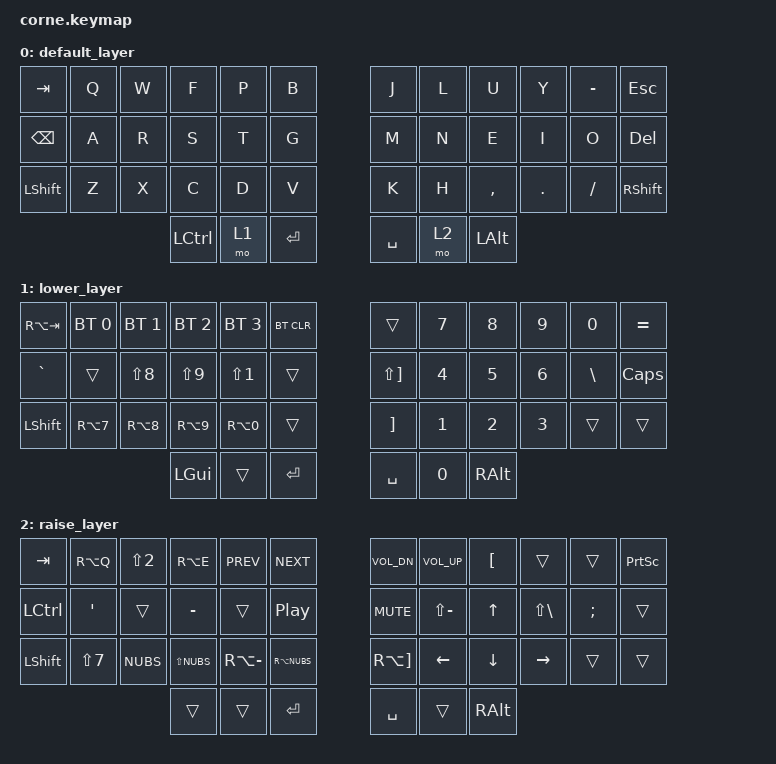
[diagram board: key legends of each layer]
/*
 * Copyright (c) 2020 The ZMK Contributors
 *
 * SPDX-License-Identifier: MIT
 */

#include <behaviors.dtsi>
#include <dt-bindings/zmk/keys.h>
#include <dt-bindings/zmk/bt.h>

/ {
        keymap {
                compatible = "zmk,keymap";

                default_layer {
// -----------------------------------------------------------------------------------------
// |  TAB |  Q  |  W  |  F  |  P  |  B  |   |  J  |  L   |  U  |  Z  |  ß  | ESC  |
// | BKSP |  A  |  R  |  S  |  T  |  G  |   |  M  |  N   |  E  |  I  |  O  | DEL  |
// | SHFT |  Y  |  X  |  C  |  D  |  V  |   |  K  |  H   |  ,  |  .  |  -  | SHFT |
//                    | CTRL| LWR | ENT |   | SPC | RSE  | ALT |
                        bindings = <
   &kp TAB   &kp Q &kp W &kp F &kp P &kp B   &kp J &kp L  &kp U     &kp Y   &kp MINUS &kp ESC
   &kp BSPC  &kp A &kp R &kp S &kp T &kp G   &kp M &kp N  &kp E     &kp I   &kp O     &kp DEL
   &kp LSHFT &kp Z &kp X &kp C &kp D &kp V   &kp K &kp H  &kp COMMA &kp DOT &kp FSLH  &kp RSHFT
                  &kp LCTRL &mo 1 &kp RET     &kp SPACE &mo 2 &kp LALT
                        >;
                };
                lower_layer {
// -----------------------------------------------------------------------------------------
// |RA(TAB)| BT1 | BT2 | BT3 | BT4 | BTCLR |   |     |  7  |  8  |  9  |  0  |  ´` |
// |  ^°   |     |  (  |  )  |  !  |       |   |  *  |  4  |  5  |  6  |  #' | CAPS|
// | SHFT  |  {  |  [  |  ]  |  }  |       |   |  +  |  1  |  2  |  3  |     |     |
//                     | GUI |     | ENT   |   | SPC |  0  | ALT |
                        bindings = <
   &kp RA(TAB) &bt BT_SEL 0 &bt BT_SEL 1 &bt BT_SEL 2 &bt BT_SEL 3 &bt BT_CLR     &trans        &kp N7   &kp N8   &kp N9  &kp N0    &kp EQUAL
   &kp GRAVE   &trans       &kp LS(N8)   &kp LS(N9)   &kp LS(N1)   &trans         &kp LS(RBKT)  &kp N4   &kp N5   &kp N6  &kp BSLH  &kp CAPS
   &kp LSHFT   &kp RA(N7)   &kp RA(N8)   &kp RA(N9)   &kp RA(N0)   &trans         &kp RBKT      &kp N1   &kp N2   &kp N3  &trans    &trans
                          	          &kp LGUI      &trans       &kp RET     &kp SPACE   &kp N0   &kp RALT
                        >;
                };

                raise_layer {
// -----------------------------------------------------------------------------------------
// |  TAB |  @  |  "  |  €  | PRV | NXT |   |  V- |  V+ |  Ü  |     |     | PRINT|
// | CTRL |  Ä  |     |  ß  |     | PLAY|   | MUTE|  ?  |  UP |  '  |  Ö  |      |
// | SHFT |  /  |  <  |  >  |  \  | "|" |   |  ~  | LFT | DWN | RGT |     |      |
//                    |     |     | ENT |   | SPC |     | ALT |
                        bindings = <
   &kp  TAB  &kp RA(Q)  &kp LS(N2) &kp RA(E)    &kp C_PREV    &kp C_NEXT      &kp C_VOL_DN &kp C_VOL_UP  &kp LBKT &trans       &trans   &kp PSCRN
   &kp LCTRL &kp SQT    &trans     &kp MINUS    &trans        &kp C_PP        &kp C_MUTE   &kp LS(MINUS) &kp UP   &kp LS(BSLH) &kp SEMI &trans
   &kp LSHFT &kp LS(N7) &kp NUBS   &kp LS(NUBS) &kp RA(MINUS) &kp RA(NUBS)    &kp RA(RBKT) &kp LEFT      &kp DOWN &kp RIGHT    &trans   &trans
                    	                &trans      &trans      &kp RET      &kp SPACE  &trans    &kp RALT
                        >;
                };
        };
};
